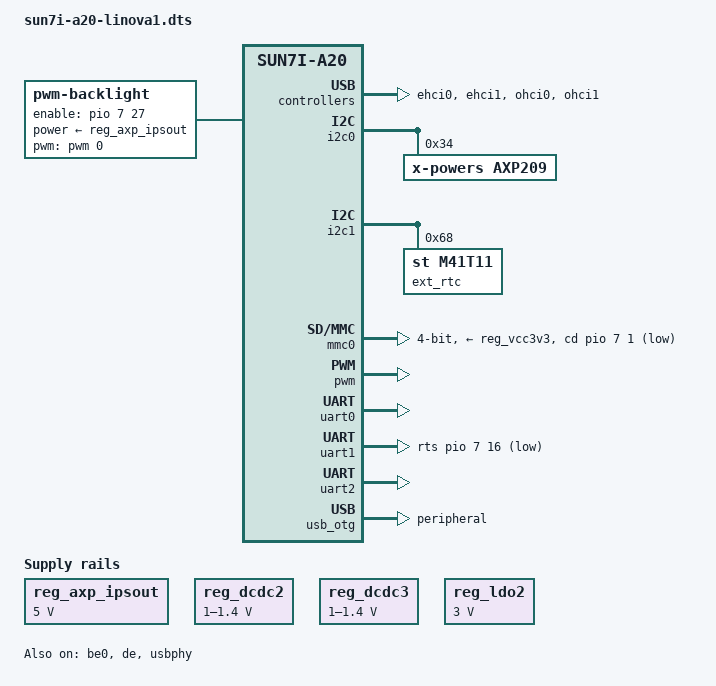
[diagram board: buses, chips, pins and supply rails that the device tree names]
// SPDX-License-Identifier: (GPL-2.0+ OR MIT)
/*
 * Device Tree Source for LiNova1 HMI
 *
 * Copyright (C) 2018 Micronova srl
 *   Author: Giulio Benetti <giulio.benetti@micronovasrl.com>
 */

/dts-v1/;
#include "sun7i-a20.dtsi"
#include "sunxi-common-regulators.dtsi"

#include <dt-bindings/gpio/gpio.h>
#include <dt-bindings/interrupt-controller/irq.h>
#include <dt-bindings/pwm/pwm.h>

/ {
	aliases {
		serial0 = &uart0;
	};
	
	backlight: backlight {
		compatible = "pwm-backlight";
		power-supply = <&reg_axp_ipsout>;
		pwms = <&pwm 0 500 PWM_POLARITY_NORMAL>;
		brightness-levels = <0 10 20 30 40 50 60 70 80 90 100>;
		default-brightness-level = <8>;
		pinctrl-names = "default";
		pinctrl-0 = <&bl_enable_pin>;
		enable-gpios = <&pio 7 27 GPIO_ACTIVE_HIGH>; /* PH27 */
	};

	chosen {
		stdout-path = "serial0:115200n8";
	};

	reg_axp_ipsout: axp_ipsout {
		compatible = "regulator-fixed";
		regulator-name = "axp-ipsout";
		regulator-min-microvolt = <5000000>;
		regulator-max-microvolt = <5000000>;
		regulator-always-on;
	};
};

&be0 {
	status = "okay";
};

&de {
	status = "okay";
};

&ehci0 {
	status = "okay";
};

&ehci1 {
	status = "okay";
};

&i2c0 {
	pinctrl-names = "default";
	pinctrl-0 = <&i2c0_pins_a>;
	status = "okay";

	axp209: pmic@34 {
		compatible = "x-powers,axp209";
		reg = <0x34>;
		interrupt-parent = <&nmi_intc>;
		interrupts = <0 IRQ_TYPE_LEVEL_LOW>;

		interrupt-controller;
		#interrupt-cells = <1>;
	};
};

&i2c1 {
	pinctrl-names = "default";
	pinctrl-0 = <&i2c1_pins_a>;
	status = "okay";

	ext_rtc: ext_rtc@68 {
		compatible = "st,m41t11";
		reg = <0x68>;
	};
};

&mmc0 {
	pinctrl-names = "default";
	pinctrl-0 = <&mmc0_pins_a>;
	vmmc-supply = <&reg_vcc3v3>;
	bus-width = <4>;
	cd-gpios = <&pio 7 1 GPIO_ACTIVE_HIGH>; /* PH1 */
	cd-inverted;
	status = "okay";
};

&ohci0 {
	status = "okay";
};

&ohci1 {
	status = "okay";
};

&otg_sram {
	status = "okay";
};

&pio {
	bl_enable_pin: bl_enable_pin {
		pins = "PH27";
		function = "gpio_out";
	};
};

&pwm {
	pinctrl-names = "default";
	pinctrl-0 = <&pwm0_pins_a>, <&pwm1_pins_a>;
	status = "okay";
};

#include "axp209.dtsi"

&ac_power_supply {
	status = "okay";
};

&reg_dcdc2 {
	regulator-always-on;
	regulator-min-microvolt = <1000000>;
	regulator-max-microvolt = <1400000>;
	regulator-name = "vdd-cpu";
};

&reg_dcdc3 {
	regulator-always-on;
	regulator-min-microvolt = <1000000>;
	regulator-max-microvolt = <1400000>;
	regulator-name = "vdd-int-dll";
};

&reg_ldo2 {
	regulator-always-on;
	regulator-min-microvolt = <3000000>;
	regulator-max-microvolt = <3000000>;
	regulator-name = "avcc";
};

&reg_usb0_vbus {
	status = "okay";
};

&reg_usb1_vbus {
	status = "okay";
};

&uart0 {
	pinctrl-names = "default";
	pinctrl-0 = <&uart0_pins_a>;
	status = "okay";
};

&uart1 {
	pinctrl-names = "default";
	pinctrl-0 = <&uart1_pins_b>;
	status = "okay";
	linux,rs485-enabled-at-boot-time;
	rs485-rts-active-low;
	/* rts-gpios = <&pio 0 12 GPIO_ACTIVE_LOW>; */ /* PA12 */
	rts-gpios = <&pio 7 16 GPIO_ACTIVE_LOW>; /* PH16 */
};

&uart2 {
	pinctrl-names = "default";
	pinctrl-0 = <&uart2_pins_a>;
	status = "okay";
};

&usb_otg {
	dr_mode = "peripheral";
	status = "okay";
};

&usbphy {
	pinctrl-names = "default";
	usb0_vbus-supply = <&reg_usb0_vbus>;
	usb1_vbus-supply = <&reg_usb1_vbus>;
	status = "okay";
};
